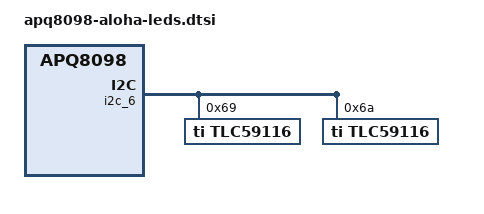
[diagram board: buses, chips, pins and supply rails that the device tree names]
/* Copyright (c) 2017, Facebook Inc. All rights reserved.
 *
 * This program is free software; you can redistribute it and/or modify
 * it under the terms of the GNU General Public License version 2 and
 * only version 2 as published by the Free Software Foundation.
 *
 * This program is distributed in the hope that it will be useful,
 * but WITHOUT ANY WARRANTY; without even the implied warranty of
 * MERCHANTABILITY or FITNESS FOR A PARTICULAR PURPOSE.  See the
 * GNU General Public License for more details.
 */

/*
 * Delete green and blue leds
 */
/delete-node/ &green_led;
/delete-node/ &blue_led;

/*
 * White LED connected to PMI
 */
&red_led {
	label = "rgb";
	qcom,id = <3>;
	qcom,mode = "pwm";
	pwms = <&pmi8998_pwm_5 0 0>;
	qcom,pwm-us = <1000>;
	qcom,max-current = <12>;
	qcom,default-state = "off";
	linux,name = "white";
	/delete-property/ linux,default-trigger;
};

/*
 * This is a platform device for the camera status LED that
 * is controlled via TZ.
 */
/ {
	fb_privacy: fb_privacy {
		fb,ledapp_name = "ledctrl";
	};
};

/*
 * Side breathing LEDs
 */
&i2c_6 {
	tlc59116@69 {
		#address-cells = <1>;
		#size-cells = <0>;
		compatible = "ti,tlc59116";
		reg = <0x69>;

		R0@0 {
			label = "R0";
			reg = <0x0>;
		};
		R1@1 {
			label = "R1";
			reg = <0x1>;
		};
		R2@2 {
			label = "R2";
			reg = <0x2>;
		};
		R3@3 {
			label = "R3";
			reg = <0x3>;
		};
		R4@4 {
			label = "R4";
			reg = <0x4>;
		};
		G0@5 {
			label = "G0";
			reg = <0x5>;
		};
		G1@6 {
			label = "G1";
			reg = <0x6>;
		};
		G2@7 {
			label = "G2";
			reg = <0x7>;
		};
		G3@8 {
			label = "G3";
			reg = <0x8>;
		};
		G4@9 {
			label = "G4";
			reg = <0x9>;
		};
		B0@A {
			label = "B0";
			reg = <0xA>;
		};
		B1@B {
			label = "B1";
			reg = <0xB>;
		};
		B2@C {
			label = "B2";
			reg = <0xC>;
		};
		B3@D {
			label = "B3";
			reg = <0xD>;
		};
		B4@E {
			label = "B4";
			reg = <0xE>;
		};
	};

	tlc59116@6A {
		#address-cells = <1>;
		#size-cells = <0>;
		compatible = "ti,tlc59116";
		reg = <0x6A>;

		R5@0 {
			label = "R5";
			reg = <0x0>;
		};
		R6@1 {
			label = "R6";
			reg = <0x1>;
		};
		R7@2 {
			label = "R7";
			reg = <0x2>;
		};
		R8@3 {
			label = "R8";
			reg = <0x3>;
		};
		R9@4 {
			label = "R9";
			reg = <0x4>;
		};
		G5@5 {
			label = "G5";
			reg = <0x5>;
		};
		G6@6 {
			label = "G6";
			reg = <0x6>;
		};
		G7@7 {
			label = "G7";
			reg = <0x7>;
		};
		G8@8 {
			label = "G8";
			reg = <0x8>;
		};
		G9@9 {
			label = "G9";
			reg = <0x9>;
		};
		B5@A {
			label = "B5";
			reg = <0xA>;
		};
		B6@B {
			label = "B6";
			reg = <0xB>;
		};
		B7@C {
			label = "B7";
			reg = <0xC>;
		};
		B8@D {
			label = "B8";
			reg = <0xD>;
		};
		B9@E {
			label = "B9";
			reg = <0xE>;
		};
	};
};
